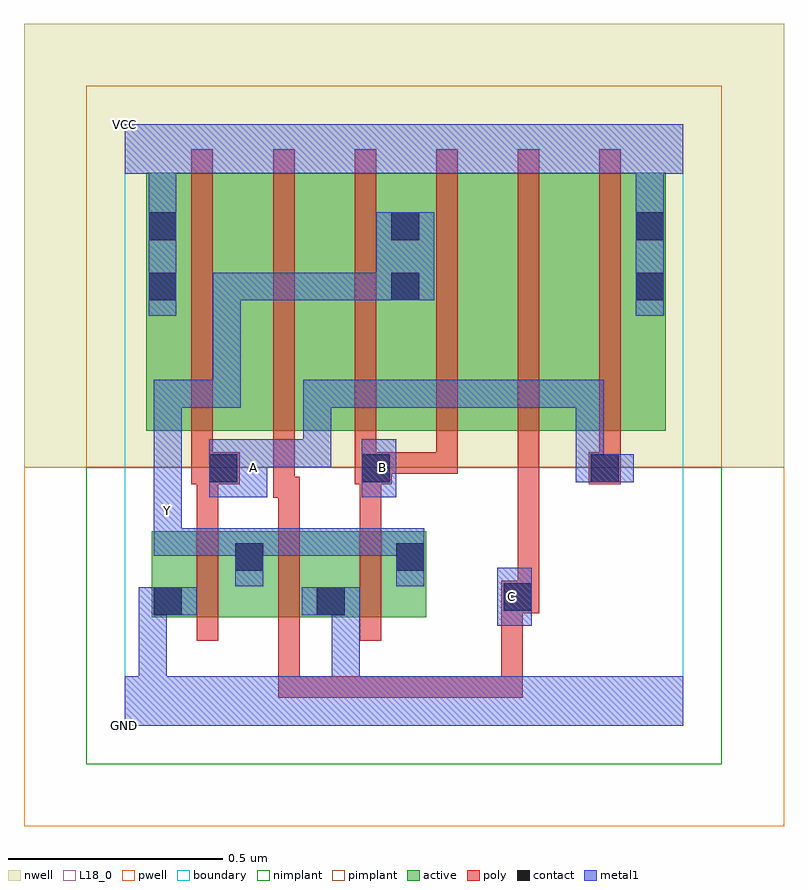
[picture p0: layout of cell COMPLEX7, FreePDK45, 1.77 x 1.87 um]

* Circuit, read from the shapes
.subckt COMPLEX7 A B C GND VCC Y
M1 Y A GND VSUBS nfet w=0.2u l=0.05u
M2 GND C Y VSUBS nfet w=0.2u l=0.05u
M3 Y B GND VSUBS nfet w=0.2u l=0.05u
M4 n1 A VCC n2 pfet w=0.6u l=0.05u
M5 n3 C n1 n2 pfet w=0.6u l=0.05u
M6 Y B n3 n2 pfet w=0.6u l=0.05u
M7 n4 B Y n2 pfet w=0.6u l=0.05u
M8 n5 C n4 n2 pfet w=0.6u l=0.05u
M9 VCC A n5 n2 pfet w=0.6u l=0.05u
.ends

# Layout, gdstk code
import gdstk
lib = gdstk.Library(unit=1e-6, precision=1e-09)
def R(c, l, rs):  # rectangles x0, y0, x1, y1
    for r in rs: c.add(gdstk.rectangle(r[:2], r[2:], *l))
def A(c, l, x, y, w, h, nx, ny, dx, dy):  # array of equal rectangles
    R(c, l, [(x+i*dx, y+j*dy, x+i*dx+w, y+j*dy+h) for i in range(nx) for j in range(ny)])
active = (1, 0)
pwell = (2, 0)
nwell = (3, 0)
nimplant = (4, 0)
pimplant = (5, 0)
poly = (9, 0)
contact = (10, 0)
metal1 = (11, 0)
L18_0 = (18, 0)
boundary = (235, 0)

complex7 = lib.new_cell('COMPLEX7')
R(complex7, active, [(0.062,0.252,0.327,0.452), (0.062,0.252,0.137,0.452), (0.252,0.252,0.517,0.452), (0.442,0.252,0.702,0.452), (0.442,0.252,0.517,0.337), (0.252,0.332,0.327,0.43), (0.627,0.332,0.702,0.452), (0.05,0.687,0.125,1.257), (0.05,0.687,0.275,1.287), (0.275,0.687,0.465,1.287), (0.465,0.687,0.69,1.287), (0.615,0.687,0.845,1.287), (0.845,0.687,1.035,1.287), (1.035,0.687,1.26,1.287), (1.185,0.687,1.26,1.257), (0.615,0.707,0.69,1.2)])
R(complex7, pwell, [(-0.235,-0.235,1.535,0.602)])
R(complex7, nwell, [(-0.235,0.602,1.535,1.635)])
R(complex7, nimplant, [(-0.09,-0.09,1.39,0.602)])
R(complex7, pimplant, [(-0.09,0.602,1.39,1.49)])
A(complex7, poly, 0.167, 0.197, 0.05, 0.31, 3, 1, 0.19, 0)
A(complex7, poly, 0.155, 0.632, 0.05, 0.71, 6, 1, 0.19, 0)
R(complex7, poly, [(0.357,0.065,0.407,0.115), (0.357,0.065,0.477,0.115), (0.357,0.065,0.407,0.247), (0.427,0.065,0.477,0.115), (0.427,0.065,0.61,0.115), (0.56,0.065,0.61,0.115), (0.56,0.065,0.61,0.115), (0.56,0.065,0.61,0.115), (0.56,0.065,0.755,0.115), (0.705,0.065,0.755,0.115), (0.705,0.065,0.857,0.115), (0.807,0.065,0.857,0.115), (0.807,0.065,0.927,0.115), (0.877,0.065,0.927,0.222), (0.877,0.065,0.927,0.115), (0.877,0.065,0.927,0.115), (0.877,0.065,0.927,0.115), (0.877,0.172,0.927,0.312), (0.877,0.172,0.927,0.222), (0.877,0.262,0.965,0.337), (0.915,0.287,0.965,0.682), (0.167,0.457,0.217,0.612), (0.357,0.457,0.407,0.58), (0.547,0.457,0.597,0.612), (0.345,0.53,0.395,0.682), (0.345,0.53,0.407,0.58), (0.155,0.562,0.267,0.637), (0.535,0.562,0.622,0.637), (1.08,0.562,1.155,0.637), (0.155,0.587,0.205,0.682), (0.535,0.587,0.585,0.682), (0.572,0.587,0.682,0.637), (0.632,0.587,0.682,0.637), (0.632,0.587,0.775,0.637), (0.725,0.587,0.775,0.682), (0.725,0.587,0.775,0.637), (1.105,0.587,1.155,0.682)])
R(complex7, contact, [(0.067,0.257,0.132,0.322), (0.447,0.257,0.512,0.322), (0.882,0.267,0.947,0.332), (0.257,0.36,0.322,0.425), (0.632,0.36,0.697,0.425), (0.197,0.567,0.262,0.632), (0.552,0.567,0.617,0.632), (1.085,0.567,1.15,0.632), (0.055,0.99,0.12,1.055), (0.62,0.99,0.685,1.055), (1.19,0.99,1.255,1.055), (0.055,1.13,0.12,1.195), (0.62,1.13,0.685,1.195), (1.19,1.13,1.255,1.195)])
R(complex7, metal1, [(0,0,1.3,0.115), (0.032,0.05,0.097,0.115), (0.032,0.05,0.097,0.115), (0.032,0.05,0.097,0.322), (0.482,0.05,0.547,0.115), (0.482,0.05,0.547,0.115), (0.482,0.05,0.547,0.322), (0.867,0.232,0.947,0.367), (0.032,0.257,0.097,0.322), (0.032,0.257,0.097,0.322), (0.032,0.257,0.167,0.322), (0.412,0.257,0.547,0.322), (0.482,0.257,0.547,0.322), (0.482,0.257,0.547,0.322), (0.257,0.325,0.322,0.46), (0.632,0.325,0.697,0.46), (0.067,0.395,0.132,0.46), (0.067,0.395,0.132,0.46), (0.067,0.395,0.132,0.46), (0.067,0.395,0.132,0.46), (0.067,0.395,0.322,0.46), (0.067,0.395,0.132,0.567), (0.257,0.395,0.47,0.46), (0.405,0.395,0.47,0.46), (0.405,0.395,0.47,0.46), (0.405,0.395,0.47,0.46), (0.405,0.395,0.65,0.46), (0.585,0.395,0.65,0.46), (0.585,0.395,0.697,0.46), (0.067,0.502,0.132,0.805), (0.197,0.532,0.332,0.667), (0.552,0.532,0.632,0.667), (1.05,0.567,1.115,0.632), (1.05,0.567,1.115,0.632), (1.05,0.567,1.185,0.632), (1.05,0.567,1.115,0.805), (0.267,0.602,0.332,0.667), (0.267,0.602,0.332,0.667), (0.267,0.602,0.48,0.667), (0.415,0.602,0.48,0.667), (0.415,0.602,0.48,0.667), (0.415,0.602,0.48,0.667), (0.415,0.602,0.48,0.805), (0.067,0.74,0.132,0.805), (0.067,0.74,0.27,0.805), (0.205,0.74,0.27,0.805), (0.205,0.74,0.27,0.805), (0.205,0.74,0.27,0.805), (0.205,0.74,0.27,1.055), (0.415,0.74,0.48,0.805), (0.415,0.74,0.645,0.805), (0.58,0.74,0.645,0.805), (0.58,0.74,0.717,0.805), (0.652,0.74,0.717,0.805), (0.652,0.74,0.787,0.805), (0.722,0.74,0.787,0.805), (0.722,0.74,0.977,0.805), (0.912,0.74,0.977,0.805), (0.912,0.74,0.977,0.805), (0.912,0.74,0.977,0.805), (0.912,0.74,1.115,0.805), (1.05,0.74,1.115,0.805), (0.055,0.955,0.12,1.23), (1.19,0.955,1.255,1.23), (0.205,0.99,0.27,1.055), (0.205,0.99,0.48,1.055), (0.415,0.99,0.48,1.055), (0.415,0.99,0.48,1.055), (0.415,0.99,0.48,1.055), (0.415,0.99,0.65,1.055), (0.585,0.99,0.65,1.055), (0.585,0.99,0.65,1.055), (0.585,0.99,0.72,1.195), (0.055,1.165,0.12,1.35), (1.19,1.165,1.255,1.35), (0,1.285,1.3,1.4)])
R(complex7, L18_0, [(0,0,1.3,0.115), (0.032,0.05,0.097,0.115), (0.032,0.05,0.097,0.115), (0.032,0.05,0.097,0.322), (0.482,0.05,0.547,0.115), (0.482,0.05,0.547,0.115), (0.482,0.05,0.547,0.322), (0.867,0.232,0.947,0.367), (0.032,0.257,0.097,0.322), (0.032,0.257,0.097,0.322), (0.032,0.257,0.167,0.322), (0.412,0.257,0.547,0.322), (0.482,0.257,0.547,0.322), (0.482,0.257,0.547,0.322), (0.867,0.267,0.932,0.332), (0.257,0.325,0.322,0.46), (0.632,0.325,0.697,0.46), (0.067,0.395,0.132,0.46), (0.067,0.395,0.132,0.46), (0.067,0.395,0.132,0.46), (0.067,0.395,0.132,0.46), (0.067,0.395,0.132,0.567), (0.067,0.395,0.322,0.46), (0.257,0.395,0.47,0.46), (0.405,0.395,0.47,0.46), (0.405,0.395,0.47,0.46), (0.405,0.395,0.47,0.46), (0.405,0.395,0.65,0.46), (0.585,0.395,0.65,0.46), (0.585,0.395,0.697,0.46), (0.067,0.467,0.132,0.532), (0.067,0.502,0.132,0.805), (0.197,0.532,0.332,0.667), (0.552,0.532,0.632,0.667), (0.267,0.567,0.332,0.632), (0.567,0.567,0.632,0.632), (1.05,0.567,1.115,0.632), (1.05,0.567,1.115,0.632), (1.05,0.567,1.185,0.632), (1.05,0.567,1.115,0.805), (0.267,0.602,0.332,0.667), (0.267,0.602,0.332,0.667), (0.267,0.602,0.48,0.667), (0.415,0.602,0.48,0.667), (0.415,0.602,0.48,0.667), (0.415,0.602,0.48,0.667), (0.415,0.602,0.48,0.805), (0.067,0.74,0.132,0.805), (0.067,0.74,0.27,0.805), (0.205,0.74,0.27,0.805), (0.205,0.74,0.27,0.805), (0.205,0.74,0.27,0.805), (0.205,0.74,0.27,1.055), (0.415,0.74,0.48,0.805), (0.415,0.74,0.645,0.805), (0.58,0.74,0.645,0.805), (0.58,0.74,0.717,0.805), (0.652,0.74,0.717,0.805), (0.652,0.74,0.787,0.805), (0.722,0.74,0.787,0.805), (0.722,0.74,0.977,0.805), (0.912,0.74,0.977,0.805), (0.912,0.74,0.977,0.805), (0.912,0.74,0.977,0.805), (0.912,0.74,1.115,0.805), (1.05,0.74,1.115,0.805), (0.055,0.955,0.12,1.23), (1.19,0.955,1.255,1.23), (0.205,0.99,0.27,1.055), (0.205,0.99,0.48,1.055), (0.415,0.99,0.48,1.055), (0.415,0.99,0.48,1.055), (0.415,0.99,0.48,1.055), (0.415,0.99,0.65,1.055), (0.585,0.99,0.65,1.055), (0.585,0.99,0.65,1.055), (0.585,0.99,0.72,1.195), (0.055,1.165,0.12,1.35), (1.19,1.165,1.255,1.35), (0,1.285,1.3,1.4)])
R(complex7, boundary, [(0,0,1.3,1.4)])
complex7.add(gdstk.Label('A', (0.3,0.6), layer=11, texttype=0))
complex7.add(gdstk.Label('B', (0.6,0.6), layer=11, texttype=0))
complex7.add(gdstk.Label('C', (0.9,0.3), layer=11, texttype=0))
complex7.add(gdstk.Label('Y', (0.1,0.5), layer=11, texttype=0))
complex7.add(gdstk.Label('VCC', (0,1.4), layer=11, texttype=0))
complex7.add(gdstk.Label('GND', (0,0), layer=11, texttype=0))

lib.write_gds('COMPLEX7.gds')
